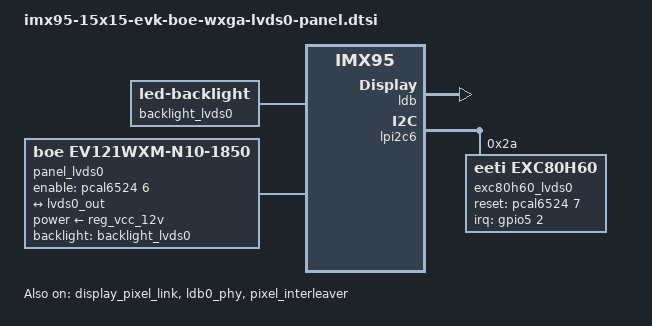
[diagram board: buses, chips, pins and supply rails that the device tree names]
// SPDX-License-Identifier: GPL-2.0+
/*
 * Copyright 2024 NXP
 */

/ {
	backlight_lvds0: backlight-lvds0 {
		compatible = "led-backlight";
		leds = <&led_backlight0>;
		brightness-levels = <0 4 8 16 32 64 128 255>;
		default-brightness-level = <6>;
	};

	panel_lvds0: panel-lvds0 {
		compatible = "boe,ev121wxm-n10-1850";
		backlight = <&backlight_lvds0>;
		power-supply = <&reg_vcc_12v>;
		enable-gpios = <&pcal6524 6 GPIO_ACTIVE_HIGH>;

		port {
			panel_lvds0_in: endpoint {
				remote-endpoint = <&lvds0_out>;
			};
		};
	};
};

&display_pixel_link {
	status = "okay";
};

&ldb {
	#address-cells = <1>;
	#size-cells = <0>;
	assigned-clocks = <&scmi_clk IMX95_CLK_LDBPLL_VCO>,
			  <&scmi_clk IMX95_CLK_LDBPLL>;
	assigned-clock-rates = <2982000000>, <497000000>;
	status = "okay";

	channel@0 {
		#address-cells = <1>;
		#size-cells = <0>;
		reg = <0>;
		status = "okay";

		port@1 {
			reg = <1>;

			lvds0_out: endpoint {
				remote-endpoint = <&panel_lvds0_in>;
			};
		};
	};
};

&ldb0_phy {
	status = "okay";
};

&lpi2c6 {
	#address-cells = <1>;
	#size-cells = <0>;

	exc80h60_lvds0: touch@2a {
		compatible = "eeti,exc80h60";
		reg = <0x2a>;
		pinctrl-names = "default";
		pinctrl-0 = <&pinctrl_ctp_int0>;
		interrupt-parent = <&gpio5>;
		interrupts = <2 IRQ_TYPE_LEVEL_LOW>;
		reset-gpios = <&pcal6524 7 GPIO_ACTIVE_HIGH>;
		touchscreen-size-y = <4096>;
		touchscreen-size-x = <4096>;
	};
};

&pixel_interleaver {
	#address-cells = <1>;
	#size-cells = <0>;
	status = "okay";

	channel@0 {
		reg = <0>;
		status = "okay";
	};
};

&scmi_iomuxc {
	pinctrl_ctp_int0: ctp_int_grp {
		fsl,pins = <
			IMX95_PAD_XSPI1_DATA2__GPIO5_IO_BIT2    0x31e
		>;
	};
};
